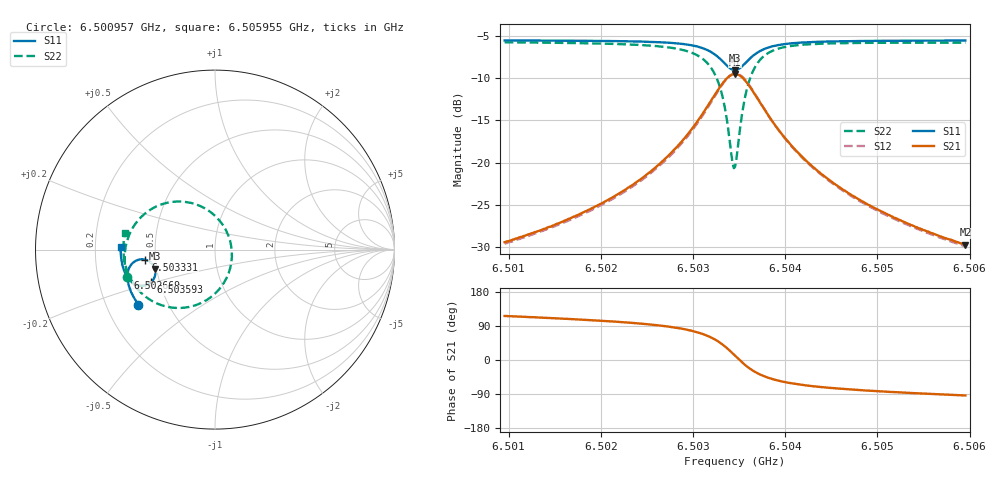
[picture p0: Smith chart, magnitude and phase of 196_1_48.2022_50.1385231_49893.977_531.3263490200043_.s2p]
#  HZ  S  RI  R  50.00
! Rohde & Schwarz Vector Network Analyzer
! Rohde-Schwarz,ZNB20-2Port,1311601062101988,3.16
! Created: UTC 3/20/2024, 11:44:49 AM
! freq[Hz]  re:S11  im:S11  re:S21  im:S21  re:S12  im:S12  re:S22  im:S22
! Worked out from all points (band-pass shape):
!   401 points, 6.500957 GHz to 6.505955 GHz, reference 50 ohm
!   highest |S21| = -9.54 dB at 6.503456 GHz (marker M1); lowest = -29.7 dB at 6.505955 GHz (marker M2)
!   |S21| within 3 dB of the highest: 6.503206 GHz to 6.503705 GHz (499.8 kHz wide, 0.00768 % of centre)
!   lowest |S11| = -9.1 dB at 6.503456 GHz (marker M3), VSWR 2.08, Z = 24.4 - j5.92 ohm
!   |S11| at or under -10 dB: nowhere
!   |S22| runs from -20.7 to -5.8 dB; largest |S21 - S12| = 0.012
!   S11 on the Smith chart (normalised r, x): 6.500957 GHz: 0.34, -0.29; 6.502669 GHz: 0.33, -0.14; 6.503331 GHz: 0.44, -0.06; 6.503593 GHz: 0.45, -0.19; 6.505955 GHz: 0.31, +0.01
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6.5009567e9  -0.4265 -0.3088  -0.0149 0.0303  -0.0132 0.0303  -0.4902 -0.1534
6.5017939e9  -0.4624 -0.2469  -0.0142 0.0481  -0.0118 0.0477  -0.5031 -0.0643
6.5022812e9  -0.4794 -0.2034  -0.0108 0.0691  -0.00792 0.068  -0.4993 0.00608
6.5026311e9  -0.4874 -0.1642  -0.00205 0.0973  0.00154 0.095  -0.48 0.0774
6.5026686e9  -0.4879 -0.1593  -0.000268 0.1016  0.00349 0.0991  -0.476 0.0868
6.5029434e9  -0.4836 -0.1163  0.0268 0.1444  0.0306 0.1399  -0.4197 0.1729
6.5031309e9  -0.4618 -0.0782  0.0816 0.1868  0.0841 0.1806  -0.3149 0.2457
6.5032433e9  -0.4289 -0.0574  0.1516 0.2043  0.1524 0.1979  -0.1886 0.2675
6.5033308e9  -0.3879 -0.0559  0.2321 0.1876  0.2324 0.1824  -0.0497 0.2257
6.5034183e9  -0.3458 -0.0845  0.3095 0.1142  0.3117 0.1093  0.0734 0.081
6.5034433e9  -0.3379 -0.0984  0.3227 0.0827  0.3256 0.0773  0.0899 0.0219
6.5034558e9  -0.3351 -0.1061  0.3268 0.066  0.3302 0.0601  0.0936 -0.00909
6.5034807e9  -0.3322 -0.122  0.3303 0.0318  0.3338 0.0248  0.0911 -0.0713
6.5035432e9  -0.3395 -0.1596  0.3113 -0.0469  0.3134 -0.057  0.0337 -0.208
6.5035932e9  -0.3562 -0.1818  0.2773 -0.0928  0.2767 -0.1041  -0.044 -0.2794
6.5037057e9  -0.4011 -0.2015  0.1917 -0.1374  0.1863 -0.1471  -0.217 -0.3249
6.5038681e9  -0.4477 -0.1917  0.1092 -0.134  0.1021 -0.139  -0.3657 -0.2771
6.504043e9  -0.4753 -0.1704  0.0644 -0.1134  0.0581 -0.1157  -0.4382 -0.2115
6.5042929e9  -0.4961 -0.1404  0.0342 -0.0888  0.0293 -0.0892  -0.4817 -0.1387
6.5046553e9  -0.5112 -0.1023  0.0155 -0.0659  0.012 -0.0654  -0.5039 -0.0656
6.5051301e9  -0.5211 -0.0582  0.00496 -0.0486  0.00276 -0.0478  -0.5105 0.00223
6.5059548e9  -0.5259 0.0118  -0.00203 -0.0326  -0.00351 -0.0318  -0.5026 0.0899
